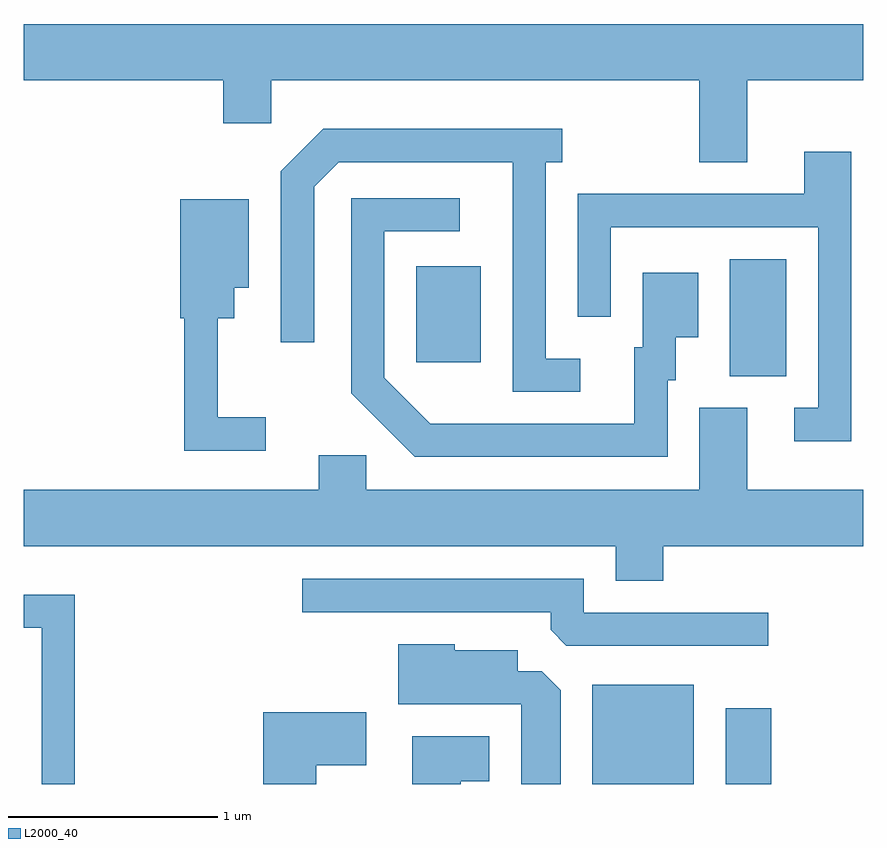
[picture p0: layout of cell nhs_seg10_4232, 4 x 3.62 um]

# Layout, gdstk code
import gdstk
lib = gdstk.Library(unit=1e-6, precision=1e-09)
def R(c, l, rs):  # rectangles x0, y0, x1, y1
    for r in rs: c.add(gdstk.rectangle(r[:2], r[2:], *l))
def P(c, l, *ps):  # polygons
    for p in ps: c.add(gdstk.Polygon(p, *l))
L2000_40 = (2000, 40)

nhs_seg10_4232 = lib.new_cell('nhs_seg10_4232')
R(nhs_seg10_4232, L2000_40, [(312.321,2150.522,312.804,2150.994), (312.956,2150.522,313.174,2150.884), (312.976,2152.466,313.244,2153.024), (311.481,2152.531,311.789,2152.989)])
P(nhs_seg10_4232, L2000_40, [(313.059,2153.876),(313.611,2153.876),(313.611,2154.144),(309.611,2154.144),(309.611,2153.876),(310.561,2153.876),(310.561,2153.671),(310.789,2153.671),(310.789,2153.876),(312.831,2153.876),(312.831,2153.486),(313.059,2153.486)],
  [(312.263,2152.549),(312.099,2152.549),(312.099,2153.486),(312.178,2153.486),(312.178,2153.644),(311.039,2153.644),(310.836,2153.442),(310.836,2152.628),(310.994,2152.628),(310.994,2153.369),(311.112,2153.486),(311.941,2153.486),(311.941,2152.391),(312.263,2152.391)],
  [(313.554,2153.534),(313.331,2153.534),(313.331,2153.334),(312.251,2153.334),(312.251,2152.748),(312.409,2152.748),(312.409,2153.176),(313.396,2153.176),(313.396,2152.314),(313.283,2152.314),(313.283,2152.156),(313.554,2152.156)],
  [(312.679,2152.446),(312.719,2152.446),(312.719,2152.651),(312.824,2152.651),(312.824,2152.959),(312.561,2152.959),(312.561,2152.604),(312.521,2152.604),(312.521,2152.239),(311.547,2152.239),(311.329,2152.457),(311.329,2153.156),(311.688,2153.156),(311.688,2153.314),(311.171,2153.314),(311.171,2152.384),(311.474,2152.081),(312.679,2152.081)],
  [(310.763,2152.269),(310.534,2152.269),(310.534,2152.741),(310.614,2152.741),(310.614,2152.886),(310.684,2152.886),(310.684,2153.309),(310.356,2153.309),(310.356,2152.741),(310.376,2152.741),(310.376,2152.111),(310.763,2152.111)],
  [(312.659,2151.656),(313.611,2151.656),(313.611,2151.924),(313.059,2151.924),(313.059,2152.314),(312.831,2152.314),(312.831,2151.924),(311.244,2151.924),(311.244,2152.089),(311.016,2152.089),(311.016,2151.924),(309.611,2151.924),(309.611,2151.656),(312.431,2151.656),(312.431,2151.491),(312.659,2151.491)],
  [(313.158,2151.339),(312.279,2151.339),(312.279,2151.499),(310.938,2151.499),(310.938,2151.341),(312.121,2151.341),(312.121,2151.257),(312.197,2151.181),(313.158,2151.181)],
  [(309.854,2151.424),(309.611,2151.424),(309.611,2151.266),(309.696,2151.266),(309.696,2150.522),(309.854,2150.522)],
  [(312.169,2150.969),(312.079,2151.059),(311.964,2151.059),(311.964,2151.159),(311.664,2151.159),(311.664,2151.189),(311.396,2151.189),(311.396,2150.901),(311.981,2150.901),(311.981,2150.522),(312.169,2150.522)],
  [(311.004,2150.611),(311.244,2150.611),(311.244,2150.864),(310.751,2150.864),(310.751,2150.522),(311.004,2150.522)],
  [(311.694,2150.536),(311.829,2150.536),(311.829,2150.749),(311.461,2150.749),(311.461,2150.522),(311.694,2150.522)])

lib.write_gds('nhs_seg10_4232.gds')
